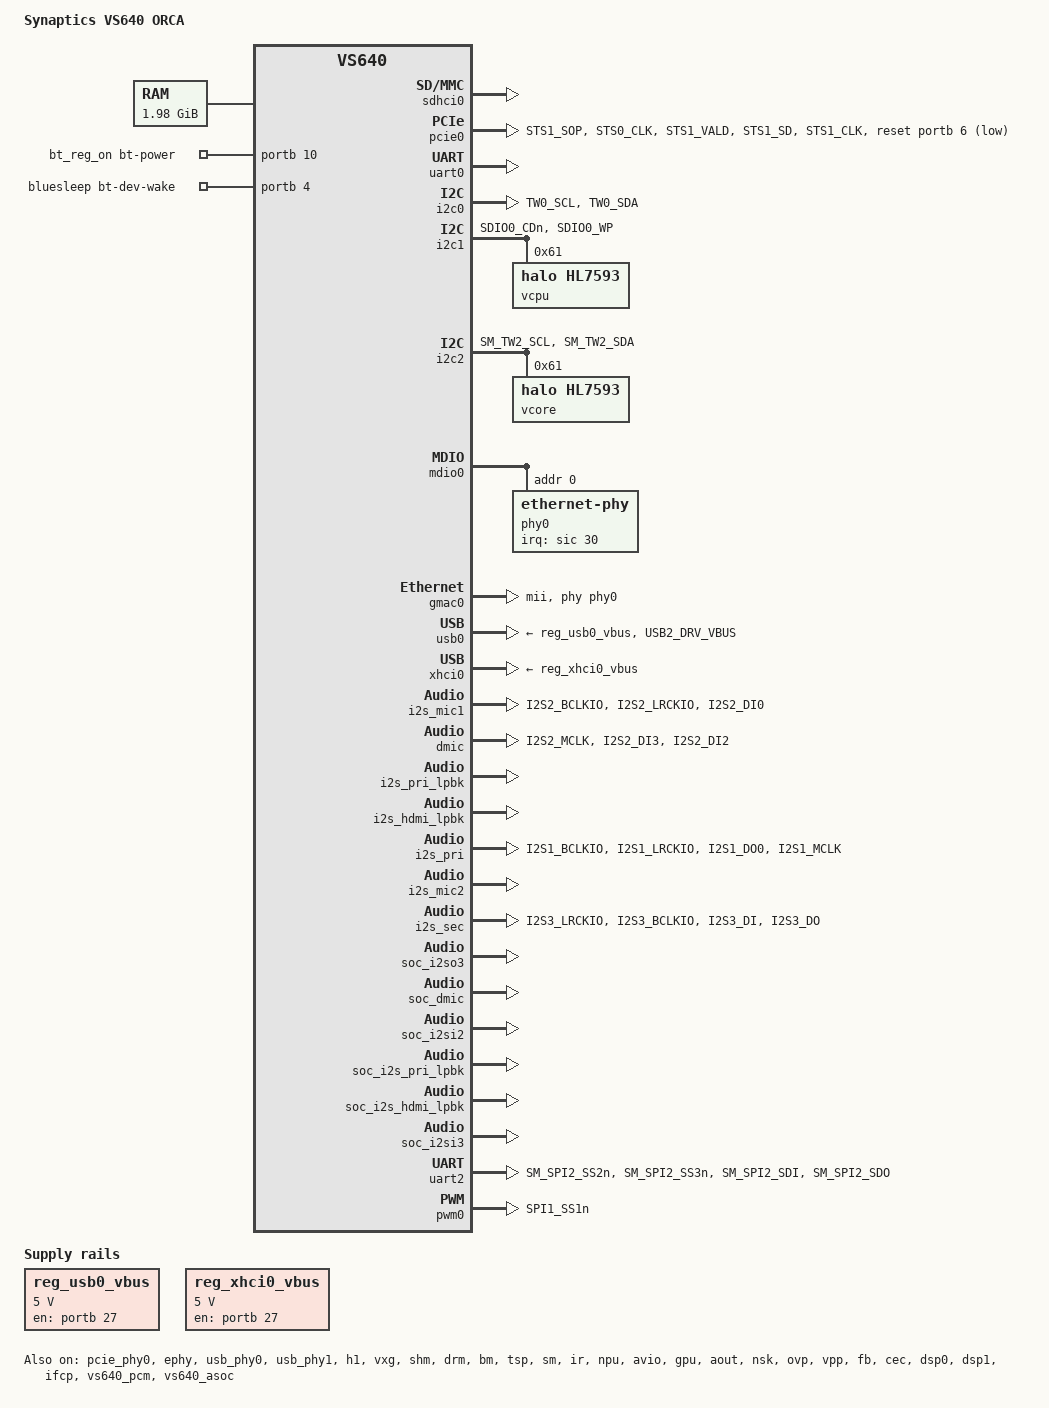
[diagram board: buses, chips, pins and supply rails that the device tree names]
// SPDX-License-Identifier: (GPL-2.0 OR MIT)
/*
 * Copyright (C) 2022 Synaptics Incorporated
 *
 */

/dts-v1/;

/memreserve/ 0x7f000000 0x01000000;

#include <dt-bindings/gpio/gpio.h>

#include "vs640.dtsi"

/ {
	model = "Synaptics VS640 ORCA";
	compatible = "syna,vs640-orca", "syna,vs640";

	cpus {
		cpu@0 {
			cpu0-supply = <&vcpu>;
		};
	};

	chosen {
		stdout-path = "serial0:115200n8";
	};

	memory {
		device_type = "memory";
		reg = <0 0x01000000 0 0x7f000000>;
	};

	ion {
		compatible = "syna,ion-berlin-heaps";
		pool-num = <2>;
		reg-names = "NonSecure-NC", "Secure";
		reg = <0 0x7f000000 0 0x00800000>,
		      <0 0x7f800000 0 0x00800000>;
		attributes-num-per-pool = <2>;
		pool-attributes = <0x00000105 0x00000F3A 0x00000102 0x00000F3D>;
	};

	regulators {
		compatible = "simple-bus";
		#address-cells = <1>;
		#size-cells = <0>;

		reg_usb0_vbus: usb0_vbus {
			compatible = "regulator-fixed";
			regulator-name = "usb0_vbus";
			regulator-min-microvolt = <5000000>;
			regulator-max-microvolt = <5000000>;
			gpio = <&portb 27 GPIO_ACTIVE_HIGH>;
			enable-active-high;
		};
		reg_xhci0_vbus: xhci0_vbus {
			compatible = "regulator-fixed";
			regulator-name = "xhci0_vbus";
			regulator-min-microvolt = <5000000>;
			regulator-max-microvolt = <5000000>;
			gpio = <&portb 27 GPIO_ACTIVE_HIGH>;
			enable-active-high;
		};

	};

	bt_reg_on: bt_reg_on {
		compatible = "syna,rfkill";
		bt-power-gpio = <&portb 10 GPIO_ACTIVE_HIGH>;
	};

	bluesleep: bluesleep {
		compatible = "syna,bluesleep";
		bt-dev-wake-gpio = <&portb 4 GPIO_ACTIVE_HIGH>;
	};

	dummy_label {
		dummy1 = <&vcore1>;
	};
};

&pinctrl {
	i2c0_pmux: i2c0-pmux {
		groups = "TW0_SCL", "TW0_SDA";
		function = "tw0";
		drive-strength = <7>;
	};

	i2c1_pmux: i2c1-pmux {
		groups = "SDIO0_CDn", "SDIO0_WP";
		function = "tw1a";
		drive-strength = <7>;
	};

	pcie_ctrl_pmux: pcie-ctrl-pmux {
		groups = "STS1_SOP", "STS0_CLK", "STS1_VALD", "STS1_SD", "STS1_CLK";
		function = "gpio";
	};

	usb2_drv_vbus_pmux: usb2_drv_vbus-pmux {
		groups = "USB2_DRV_VBUS";
		function = "gpio";
	};

	hdmi_pwr_pmux: hdmi_pwr-pmux {
		groups = "GPIO_A0";
		function = "gpio";
	};

	pwm1_pmux: pwm1-pmux {
		groups = "SPI1_SS1n";
		function = "pwm";
	};
};

&sm_pinctrl {
	i2c2_pmux: i2c2-pmux {
		groups = "SM_TW2_SCL", "SM_TW2_SDA";
		function = "tw2";
		drive-strength = <7>;
	};

	i2c3_pmux: i2c3-pmux {
		groups = "SM_TW3_SCL", "SM_TW3_SDA";
		function = "tw3";
		drive-strength = <7>;
	};

	uart2_pmux: uart2-pmux {
		groups = "SM_SPI2_SS2n", "SM_SPI2_SS3n", "SM_SPI2_SDI", "SM_SPI2_SDO";
		function = "uart2a";
		drive-strength = <3>;
	};

	pwm0_pmux: pwm0-pmux {
		groups = "SM_URT1_TXD", "SM_URT1_RXD";
		function = "pwm";
	};
};

&avio_pinctrl {
	i2s1_pmux: i2s1-pmux {
		groups = "I2S1_BCLKIO", "I2S1_LRCKIO", "I2S1_DO0", "I2S1_MCLK";
		function = "i2s1";
	};

	i2s2_pmux: i2s2-pmux {
		groups = "I2S2_BCLKIO", "I2S2_LRCKIO", "I2S2_DI0";
		function = "i2s2";
	};

	i2s3_pmux: i2s3-pmux {
		groups = "I2S3_LRCKIO", "I2S3_BCLKIO", "I2S3_DI", "I2S3_DO";
		function = "i2s3";
	};

	pdm_pmux: pdm-pmux {
		groups = "I2S2_MCLK", "I2S2_DI3", "I2S2_DI2";
		function = "pdm";
	};
};

&sdhci0 {
	status = "okay";
	sdclkdl-dc = /bits/ 8 <26>;
	mmc-ddr-1_8v;
	mmc-hs200-1_8v;
	mmc-hs400-1_8v;
	dll-calibration;
	dll-delay-offset = <300>;
	pad-sp = /bits/ 8 <14>;
	pad-sn = /bits/ 8 <14>;
};

&pcie_phy0 {
	status = "okay";
};

&pcie0 {
	status = "okay";
	pinctrl-0 = <&pcie_ctrl_pmux>;
	pinctrl-names = "default";
	reset-gpios = <&portb 6 GPIO_ACTIVE_LOW>;
	enable-gpios = <&portb 7 GPIO_ACTIVE_HIGH>;
	power-gpios = <&portb 11 GPIO_ACTIVE_HIGH>;
};

&uart0 {
	status = "okay";
};

&i2c0 {
	status = "okay";
	pinctrl-names = "default";
	pinctrl-0 = <&i2c0_pmux>;
};

&i2c1 {
	status = "okay";
	pinctrl-names = "default";
	pinctrl-0 = <&i2c1_pmux>;

	vcpu: regulator@61 {
		compatible = "halo,hl7593";
		regulator-name = "vcpu";
		regulator-min-microvolt = <700000>;
		regulator-max-microvolt = <987500>;
		regulator-always-on;
		regulator-boot-on;
		regulator-active-discharge = <0>;
		halo,vsel-state-high;
		halo,vsel-step = <1>;
		reg = <0x61>;
	};
};

&i2c2 {
	status = "okay";
	pinctrl-names = "default";
	pinctrl-0 = <&i2c2_pmux>;

	vcore: regulator@61 {
		compatible = "halo,hl7593";
		regulator-name = "vcore";
		regulator-min-microvolt = <700000>;
		regulator-max-microvolt = <937500>;
		regulator-always-on;
		regulator-boot-on;
		regulator-active-discharge = <0>;
		halo,vsel-state-high;
		halo,vsel-step = <1>;
		reg = <0x61>;
	};

	vcore1: regulator1@60 {
		status = "disabled";
		compatible = "silergy,sy8827n";
		regulator-name = "vcore";
		regulator-min-microvolt = <700000>;
		regulator-max-microvolt = <937500>;
		regulator-active-discharge = <0>;
		regulator-always-on;
		regulator-boot-on;
		silergy,vsel-step = <1>;
		reg = <0x60>;
	};
};

&ephy {
	status = "okay";
};

&mdio0 {
	phy0: ethernet-phy@0 {
		reg = <0>;
		interrupt-parent = <&sic>;
		interrupts = <30>;
		ephy = <&ephy>;
		eee-broken-100tx;
	};
};

&gmac0 {
	status = "okay";
	phy-handle = <&phy0>;
	phy-mode = "mii";
};

&usb0 {
	pinctrl-0 = <&usb2_drv_vbus_pmux>;
	pinctrl-names = "default";
	vbus-supply = <&reg_usb0_vbus>;
	status = "okay";
};

&usb_phy0 {
	status = "okay";
};

&xhci0 {
	vbus-supply = <&reg_xhci0_vbus>;
	status = "okay";
};

&usb_phy1{
	status = "okay";
};

&h1 {
	status = "okay";
};

&vxg {
	status = "okay";
};

&shm {
	status = "okay";
};

&drm {
	status = "okay";
};

&bm {
	status = "okay";
};

&tsp {
	status = "okay";
};

&sm {
	status = "okay";
};

&ir {
	status = "okay";
};

&npu {
	status = "okay";
};

&avio {
	status = "okay";
	vpp {
		pinctrl-0 = <&hdmi_pwr_pmux>;
		pinctrl-names = "default";
		hdtx5v-gpio = <&portb 3 GPIO_ACTIVE_HIGH>; /* SOC GPIO 35 */
	};
};

&gpu {
	status = "okay";
};

&aout {
	status = "okay";
	pinctrl-0 = <&i2s1_pmux>;
	pinctrl-names = "default";
};

&nsk {
	status = "okay";
};

&ovp {
	status = "okay";
};

&vpp {
	status = "okay";
};

&fb {
	status = "okay";
};

&cec {
	status = "okay";
};

&dsp0 {
	status = "okay";
};

&dsp1 {
	status = "okay";
};

&ifcp {
	status = "okay";
};

&i2s_mic1 {
	status = "okay";
	pinctrl-0 = <&i2s2_pmux>;
	pinctrl-names = "default";
	intlmode;
};

&dmic {
	status = "okay";
	pinctrl-0 = <&pdm_pmux>;
	pinctrl-names = "default";
	pdm-type = <1>;
	pdm-clk-sel = <2>;
};

&i2s_pri_lpbk {
	status = "okay";
};

&i2s_hdmi_lpbk {
	status = "okay";
};

&vs640_pcm {
	status = "okay";
};

&i2s_pri {
	status = "okay";
	pinctrl-0 = <&i2s1_pmux>;
	pinctrl-names = "default";
};

&i2s_mic2 {
	status = "okay";
};

&i2s_sec {
	status = "okay";
	pinctrl-0 = <&i2s3_pmux>;
	pinctrl-names = "default";
};

&vs640_asoc {
	status = "okay";

	soc_i2so3: soc-i2so3 {
		status = "okay";
		stream-name = "soc-i2so3";
		link-name = "soc-i2so3";
		format = "dsp_a";
		continuous-clock;
		bitclock-inversion;
		bitclock-master;
		frame-master;
		cpu-node = <&i2s_sec>;
		codec-name = "snd-soc-dummy";
		codec-dai-name = "snd-soc-dummy-dai";
		platform-node = <&vs640_pcm>;
	};

	soc_dmic: soc-dmic {
		status = "okay";
		stream-name = "soc-dmic";
		link-name = "soc-dmic";
		cpu-node = <&dmic>;
		codec-name = "snd-soc-dummy";
		codec-dai-name = "snd-soc-dummy-dai";
		platform-node = <&vs640_pcm>;
	};

	soc_i2si2: soc-i2si2 {
		status = "okay";
		stream-name = "soc-i2si2";
		link-name = "soc-i2si2";
		format = "i2s";
		bitclock-inversion;
		frame-inversion;
		cpu-node = <&i2s_mic1>;
		codec-name = "snd-soc-dummy";
		codec-dai-name = "snd-soc-dummy-dai";
		platform-node = <&vs640_pcm>;
	};

	soc_i2s_pri_lpbk: soc-i2s-pri-lpbk {
		status = "okay";
		stream-name = "soc-i2s-pri-lpbk";
		link-name = "soc-i2s-pri-lpbk";
		format = "i2s";
		cpu-node = <&i2s_pri_lpbk>;
		codec-name = "snd-soc-dummy";
		codec-dai-name = "snd-soc-dummy-dai";
		platform-node = <&vs640_pcm>;
	};

	soc_i2s_hdmi_lpbk: soc-i2s-hdmi-lpbk {
		status = "okay";
		stream-name = "soc-i2s-hdmi-lpbk";
		link-name = "soc-i2s-hdmi-lpbk";
		format = "i2s";
		cpu-node = <&i2s_hdmi_lpbk>;
		codec-name = "snd-soc-dummy";
		codec-dai-name = "snd-soc-dummy-dai";
		platform-node = <&vs640_pcm>;
	};

	soc_i2si3: soc-i2si3 {
		status = "okay";
		stream-name = "soc-i2si3";
		link-name = "soc-i2si3";
		format = "dsp_a";
		bitclock-inversion;
		bitclock-master;
		frame-master;
		cpu-node = <&i2s_mic2>;
		codec-name = "snd-soc-dummy";
		codec-dai-name = "snd-soc-dummy-dai";
		platform-node = <&vs640_pcm>;
	};
};

&uart2 {
	pinctrl-0 = <&uart2_pmux>;
	pinctrl-names = "default";
	status = "okay";
};

&axi_meter {
	status = "okay";
};

&pwm0 {
	pinctrl-names = "default";
	pinctrl-0 = <&pwm1_pmux>;
	status = "okay";
};
